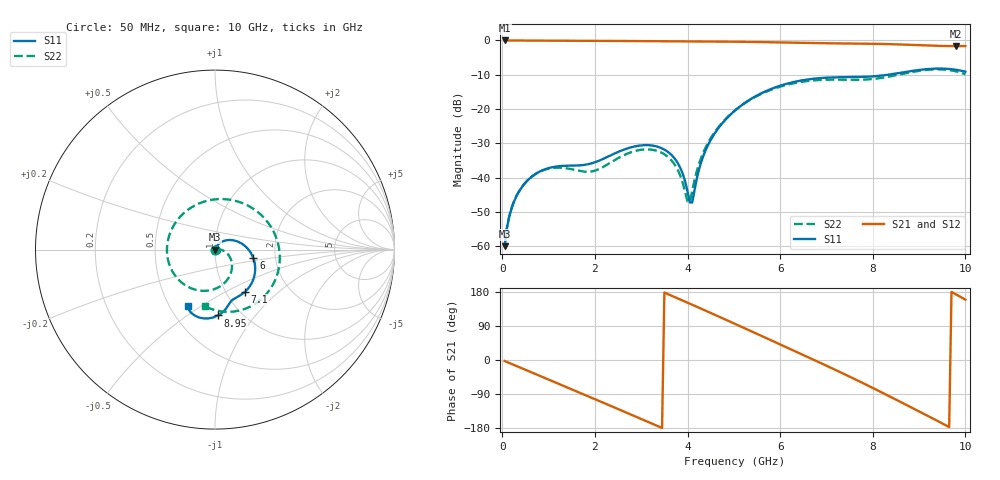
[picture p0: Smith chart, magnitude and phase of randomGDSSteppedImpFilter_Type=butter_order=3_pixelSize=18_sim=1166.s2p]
! freq	dB(S11)	phase(S11)	dB(S12)	phase(S12)
!  dB(S21)	phase(S21)	dB(S22)	phase(S22)
!S-par simulation data
#  GHz  S  DB  R 50
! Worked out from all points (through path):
!   200 points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, 50 MHz to 10 GHz, reference 50 ohm
!   highest |S21| = 0.00 dB at 50 MHz (marker M1); lowest = -1.6 dB at 9.8 GHz (marker M2)
!   group delay of S21, straight-line fit = 154 ps
!   lowest |S11| = -60.0 dB at 50 MHz (marker M3), VSWR 1.00, Z = 50 - j0.0902 ohm
!   |S11| at or under -10 dB: start of sweep to 8.33 GHz
!   |S22| runs from -60.0 to -8.4 dB; largest |S21 - S12| = 0
!   S11 on the Smith chart (normalised r, x): 50 MHz: 1.00, -0.00; 6 GHz: 1.53, -0.15; 7.1 GHz: 1.22, -0.63; 8.95 GHz: 0.78, -0.67; 10 GHz: 0.61, -0.44
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0.05  -60.00 -64.3  -0.00 -2.6  -0.00 -2.6  -59.96 -62.7
0.2  -48.99 -96.8  -0.02 -10.4  -0.02 -10.4  -48.82 -90.3
0.55  -40.79 -127.5  -0.04 -28.4  -0.04 -28.4  -40.71 -108.4
1.2  -36.71 177.2  -0.07 -61.9  -0.07 -61.9  -37.10 -127.9
1.75  -36.34 113.3  -0.10 -90.3  -0.10 -90.3  -38.23 -121.9
2.5  -32.53 21.8  -0.15 -129.4  -0.15 -129.4  -34.33 -94.0
3.4  -31.21 -44.3  -0.22 -176.7  -0.22 -176.7  -32.50 -115.4
3.75  -34.96 -60.7  -0.25 164.7  -0.25 164.7  -36.81 -123.4
4  -44.06 -48.3  -0.26 151.3  -0.26 151.3  -46.95 -82.0
4.1  -47.27 17.7  -0.27 145.9  -0.27 145.9  -44.02 -18.6
4.25  -37.51 60.7  -0.28 137.8  -0.28 137.8  -35.88 0.9
4.4  -31.74 61.0  -0.29 129.7  -0.29 129.7  -30.95 -0.1
5.05  -20.14 32.9  -0.37 94.0  -0.37 94.0  -20.13 -29.3
5.5  -16.06 11.0  -0.46 69.0  -0.46 69.0  -16.21 -54.6
6  -13.20 -12.4  -0.59 41.1  -0.59 41.1  -13.49 -85.3
6.7  -11.20 -41.3  -0.77 2.0  -0.77 2.0  -11.69 -133.5
7.1  -10.80 -54.6  -0.83 -20.7  -0.83 -20.7  -11.44 -165.5
7.8  -10.63 -69.6  -0.92 -61.7  -0.92 -61.7  -11.44 125.9
8.35  -9.96 -76.3  -1.07 -95.2  -1.07 -95.2  -10.54 64.1
8.95  -8.70 -87.6  -1.37 -132.5  -1.37 -132.5  -8.96 1.8
9.8  -8.56 -111.5  -1.65 173.0  -1.65 173.0  -9.01 -78.3
10  -9.12 -115.9  -1.64 159.2  -1.64 159.2  -9.87 -99.6
